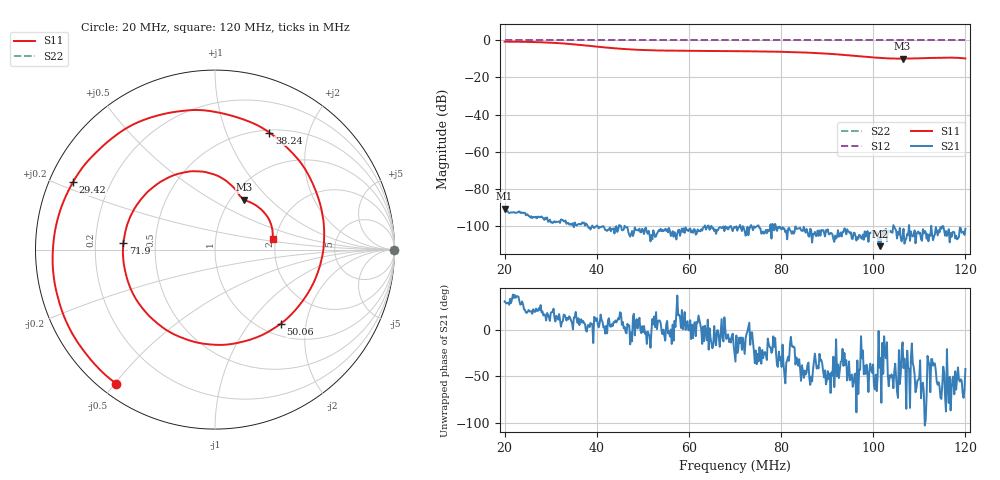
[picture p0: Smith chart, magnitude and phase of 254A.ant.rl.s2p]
! Anritsu VNA Master:  Model: MS2036C/10/77
! SN:  1601066
! /bd0/18may26.balun/4a.me1.s2p
! Existing Calibration Information:
! TYPE:  Current Settings,  Active Cal Settings
! TIME:  05/26/2018 02:57:21 PM,  05/26/2018 02:51:55 PM
! INTERNAL TEMP:  59.8 C,  59.5 C
! # POINTS:  500,  500
! START FREQ:  20.000 MHz,  20.000 MHz
! STOP FREQ:  120.000 MHz,  120.000 MHz
! SOURCE POWER:  High,  High
! IFBW:  50 Hz,  50 Hz
! AVG FACTOR:  1 ,  1
! REF PLANE 1:  0 mm,  0 mm
! REF PLANE 2:  0 mm,  0 mm
! CAL TYPE:  Full S11,  Full S11
! CAL METHOD:  SOLT,  SOLT
! CAL LINE TYPE:  Coax,  Coax
! DUT PORT 1:  K-Conn(M),  K-Conn(M)
! DUT PORT 2:  K-Conn(M),  K-Conn(M)
! CAL STATUS:  OK: Accuracy High,  --
# GHZ S DB R 50.0
! FREQ.GHZ  S11DB  S11A  S21DB  S21A  S12DB  S12A  S22DB  S22A
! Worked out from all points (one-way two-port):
!   500 points, 20 MHz to 120 MHz, reference 50 ohm
!   highest |S21| = -90.82 dB at 20 MHz (marker M1); lowest = -111.1 dB at 101.6 MHz (marker M2)
!   lowest |S11| = -9.8 dB at 106.4 MHz (marker M3), VSWR 1.95, Z = 57.5 + j35.8 ohm
!   |S11| at or under -10 dB: nowhere
!   |S22| runs from 0.0 to 0.0 dB; largest |S21 - S12| = 1
!   S11 on the Smith chart (normalised r, x): 20 MHz: 0.05, -0.50; 29.42 MHz: 0.07, +0.22; 38.24 MHz: 0.53, +1.43; 50.06 MHz: 1.22, -1.44; 71.9 MHz: 0.32, +0.03; 120 MHz: 1.93, +0.25
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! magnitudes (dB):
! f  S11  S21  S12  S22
! 20 MHz  -0.7  -90.8  0.0  0.0
! 25.41 MHz  -0.8  -94.9  0.0  0.0
! 29.42 MHz  -1.2  -97.9  0.0  0.0
! 32.83 MHz  -1.6  -97.6  0.0  0.0
! 36.83 MHz  -2.5  -98.3  0.0  0.0
! 38.24 MHz  -2.9  -101.2  0.0  0.0
! 44.05 MHz  -4.3  -100.9  0.0  0.0
! 47.66 MHz  -4.9  -102.9  0.0  0.0
! 50.06 MHz  -5.2  -102.7  0.0  0.0
! 53.47 MHz  -5.4  -102.4  0.0  0.0
! 70.1 MHz  -5.8  -101.1  0.0  0.0
! 71.9 MHz  -5.8  -101.2  0.0  0.0
! 79.72 MHz  -6.1  -100.5  0.0  0.0
! 86.73 MHz  -6.7  -109.2  0.0  0.0
! 90.54 MHz  -7.2  -104.7  0.0  0.0
! 101.6 MHz  -9.4  -111.1  0.0  0.0
! 103.4 MHz  -9.7  -103.4  0.0  0.0
! 106.4 MHz  -9.8  -106.2  0.0  0.0
! 108.2 MHz  -9.8  -103.1  0.0  0.0
! 115.8 MHz  -9.3  -103.0  0.0  0.0
! 118 MHz  -9.3  -105.4  0.0  0.0
! 120 MHz  -9.7  -101.8  0.0  0.0
